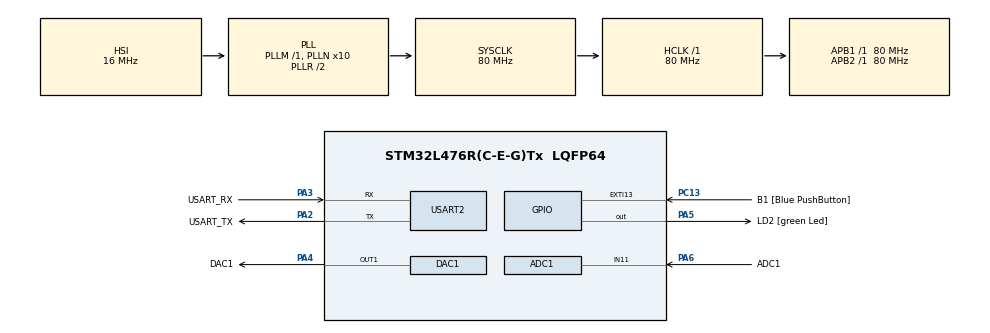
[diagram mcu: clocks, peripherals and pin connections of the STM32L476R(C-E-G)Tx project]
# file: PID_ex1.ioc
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ADC1.Channel-1\#ChannelRegularConversion=ADC_CHANNEL_11
ADC1.NbrOfConversionFlag=1
ADC1.OffsetNumber-1\#ChannelRegularConversion=ADC_OFFSET_NONE
ADC1.Rank-1\#ChannelRegularConversion=1
ADC1.SamplingTime-1\#ChannelRegularConversion=ADC_SAMPLETIME_2CYCLES_5
ADC1.master=1
Mcu.Family=STM32L4
Mcu.Name=STM32L476R(C-E-G)Tx
Mcu.Package=LQFP64
Mcu.UserConstants=TIM_PRESCALER,799;TIM_PERIOD,99
NVIC.ADC1_2_IRQn=true\:5\:0\:true\:false\:true\:true\:true\:true
NVIC.EXTI15_10_IRQn=true\:0\:0\:false\:false\:true\:true\:true\:true
NVIC.PriorityGroup=NVIC_PRIORITYGROUP_4
NVIC.USART2_IRQn=true\:5\:0\:true\:false\:true\:true\:true\:true
PA13\ (JTMS-SWDIO).GPIO_Label=TMS
PA13\ (JTMS-SWDIO).Mode=Serial_Wire
PA13\ (JTMS-SWDIO).Signal=SYS_JTMS-SWDIO
PA14\ (JTCK-SWCLK).GPIO_Label=TCK
PA14\ (JTCK-SWCLK).Mode=Serial_Wire
PA14\ (JTCK-SWCLK).Signal=SYS_JTCK-SWCLK
PA2.GPIO_Label=USART_TX
PA2.GPIO_Mode=GPIO_MODE_AF_PP
PA2.GPIO_PuPd=GPIO_NOPULL
PA2.GPIO_Speed=GPIO_SPEED_FREQ_VERY_HIGH
PA2.Mode=Asynchronous
PA2.Signal=USART2_TX
PA3.GPIO_Label=USART_RX
PA3.GPIO_Mode=GPIO_MODE_AF_PP
PA3.GPIO_PuPd=GPIO_NOPULL
PA3.GPIO_Speed=GPIO_SPEED_FREQ_VERY_HIGH
PA3.Mode=Asynchronous
PA3.Signal=USART2_RX
PA4.GPIO_Label=DAC1
PA4.Signal=COMP_DAC11_group
PA5.GPIO_Label=LD2 [green Led]
PA5.GPIO_ModeDefaultOutputPP=GPIO_MODE_OUTPUT_PP
PA5.GPIO_PuPd=GPIO_NOPULL
PA5.GPIO_Speed=GPIO_SPEED_FREQ_LOW
PA5.Signal=GPIO_Output
PA6.GPIO_Label=ADC1
PA6.Signal=ADCx_IN11
PB3\ (JTDO-TRACESWO).GPIO_Label=SWO
PB3\ (JTDO-TRACESWO).Signal=SYS_JTDO-SWO
PC13.GPIO_Label=B1 [Blue PushButton]
PC13.GPIO_ModeDefaultEXTI=GPIO_MODE_IT_FALLING
PC13.GPIO_PuPd=GPIO_NOPULL
PC13.Signal=GPXTI13
PC14-OSC32_IN\ (PC14).Mode=LSE-External-Oscillator
PC14-OSC32_IN\ (PC14).Signal=RCC_OSC32_IN
PC15-OSC32_OUT\ (PC15).Mode=LSE-External-Oscillator
PC15-OSC32_OUT\ (PC15).Signal=RCC_OSC32_OUT
PH0-OSC_IN\ (PH0).Signal=RCC_OSC_IN
PH1-OSC_OUT\ (PH1).Signal=RCC_OSC_OUT
ProjectManager.HeapSize=0x200
ProjectManager.StackSize=0x400
ProjectManager.TargetToolchain=STM32CubeIDE
RCC.ADCFreq_Value=64000000
RCC.AHBFreq_Value=80000000
RCC.APB1Freq_Value=80000000
RCC.APB1TimFreq_Value=80000000
RCC.APB2Freq_Value=80000000
RCC.APB2TimFreq_Value=80000000
RCC.CortexFreq_Value=80000000
RCC.HCLKFreq_Value=80000000
RCC.HSE_VALUE=8000000
RCC.HSI_VALUE=16000000
RCC.MSI_VALUE=4000000
RCC.PLLN=10
RCC.PLLSourceVirtual=RCC_PLLSOURCE_HSI
RCC.PREFETCH_ENABLE=1
RCC.SYSCLKFreq_VALUE=80000000
RCC.SYSCLKSource=RCC_SYSCLKSOURCE_PLLCLK
RCC.USBFreq_Value=64000000
RCC.VCOOutputFreq_Value=160000000
SH.ADCx_IN11.0=ADC1_IN11,IN11-Single-Ended
SH.COMP_DAC11_group.0=DAC1_OUT1,DAC_OUT1
TIM6.Period=TIM_PERIOD
TIM6.Prescaler=TIM_PRESCALER
TIM6.TIM_MasterOutputTrigger=TIM_TRGO_UPDATE
USART2.VirtualMode-Asynchronous=VM_ASYNC
VP_TIM6_VS_ClockSourceINT.Mode=Enable_Timer
board=NUCLEO-L476RG

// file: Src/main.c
/* USER CODE BEGIN Header */
/**
 ******************************************************************************
 * @file           : main.c
 * @brief          : Main program body
 ******************************************************************************
 * @attention
 *
 * <h2><center>&copy; Copyright (c) 2019 STMicroelectronics.
 * All rights reserved.</center></h2>
 *
 * This software component is licensed by ST under BSD 3-Clause license,
 * the "License"; You may not use this file except in compliance with the
 * License. You may obtain a copy of the License at:
 *                        opensource.org/licenses/BSD-3-Clause
 *
 ******************************************************************************
 */
/* USER CODE END Header */
#include "main.h"
#include "adc.h"
#include "dac.h"
#include "tim.h"
#include "usart.h"
#include "gpio.h"

/* USER CODE BEGIN Includes */

// --> include all necessary headers for
// printf() redirection
#include "stdio.h"
// FreeRTOS related headers
#include "FreeRTOS.h"
#include "task.h"
#include "semphr.h"
#include "queue.h"
#include "event_groups.h"
#include "pid.h"
#include <math.h>
#include <stdint.h>

/* USER CODE END Includes */

/* USER CODE BEGIN PD */

// PID gains
#define PID_KP   2.0f
#define PID_KI   8.0f
#define PID_KD   0.1f
#define PID_DT   0.02f   // control loop period: 50 Hz -> 0.02 s

// desired value range [0, 4095], selected by keys '0'..'9'
#define DV_STEP  4095/9
#define DV_MAX   4095

// DAC is 12-bit -> control signal range [0, 4095]
#define CS_MAX   4095.0f

// event group bit: measure signals that a fresh sample is available
#define MV_READY_BIT    (1 << 0)   // measure published a new mv

/* USER CODE END PD */

/* USER CODE BEGIN PV */

// shared process values (word-sized -> atomic access on Cortex-M);
// freshness is signalled through the 'dataEvents' event group
uint16_t mv = 0;   // measured value
uint16_t dv = 0;   // desired value
uint16_t cs = 0;   // control signal

// sinus parameters
float a = 0.5;
float b = 0.1;
float c = 0;

// PID controller instance
PID_t pid;

// synchronization primitives
EventGroupHandle_t dataEvents; // measure -> control handoff (MV_READY_BIT)
SemaphoreHandle_t adcReady;    // given by the ADC conversion-complete ISR
QueueHandle_t uartQueue;       // characters received over the serial port
uint8_t rxByte;                // single-byte buffer for HAL_UART_Receive_IT

/* USER CODE END PV */

void SystemClock_Config(void);

/* USER CODE BEGIN 0 */
int _write(int file, char *ptr, int len) {
	HAL_UART_Transmit(&huart2, (uint8_t*) ptr, len, 50);
	return len;
}

int16_t convert_to_mV(int16_t value) {
	int16_t value_mV = 1000 * value * 3.3 / CS_MAX;
	return value_mV;
}

void HAL_ADC_ConvCpltCallback(ADC_HandleTypeDef *hadc) {
	if (hadc->Instance == ADC1) {
		BaseType_t hpw = pdFALSE;
		// tell the measure task that a fresh sample is ready
		xSemaphoreGiveFromISR(adcReady, &hpw);
		portYIELD_FROM_ISR(hpw);
	}
}

void HAL_UART_RxCpltCallback(UART_HandleTypeDef *huart) {
	if (huart->Instance == USART2) {
		BaseType_t hpw = pdFALSE;
		// hand the received character to the user task
		xQueueSendToBackFromISR(uartQueue, &rxByte, &hpw);
		// re-arm reception for the next byte
		HAL_UART_Receive_IT(&huart2, &rxByte, 1);
		portYIELD_FROM_ISR(hpw);
	}
}

void measureTask(void *args) {
	TickType_t xLastWakeTime;

	xLastWakeTime = xTaskGetTickCount();

	for (;;) {
		// start a conversion and wait until the ISR signals it is done
		HAL_ADC_Start_IT(&hadc1);
		xSemaphoreTake(adcReady, portMAX_DELAY);
		uint16_t v = HAL_ADC_GetValue(&hadc1);

		// publish the new measurement and flag it as ready
		mv = v;
		xEventGroupSetBits(dataEvents, MV_READY_BIT);

		vTaskDelayUntil(&xLastWakeTime, pdMS_TO_TICKS(20));
	}
}

void controlTask(void *args) {
	static float time = 0.0f;

	for (;;) {
		// run once per fresh measurement (paced by measureTask, ~50 Hz)
		xEventGroupWaitBits(dataEvents, MV_READY_BIT,
				pdTRUE,   // clear the bit on exit
				pdFALSE,  // only this bit
				portMAX_DELAY);

		float mvLocal = mv;
		float a_local = a;
		float b_local = b;
		float c_local = c;

		time += PID_DT;
		float sinus_value_volts = a_local * sinf(b_local*time) + c_local;
		float sinus_value = sinus_value_volts * (CS_MAX/3.3f);

		dv = sinus_value;

		// PID output is already saturated to [0, CS_MAX]
		uint16_t csLocal = (uint16_t) PID_Update(&pid, sinus_value, mvLocal);

		HAL_DAC_SetValue(&hdac1, DAC_CHANNEL_1, DAC_ALIGN_12B_R, csLocal);

		cs = csLocal;
	}
}

void commTask(void *args) {
	TickType_t xLastWakeTime;

	xLastWakeTime = xTaskGetTickCount();

	for (;;) {
		uint16_t mvLocal = mv;
		uint16_t dvLocal = dv;
		uint16_t csLocal = cs;
		int16_t errorLocal = dvLocal - mvLocal;

		int16_t mvLocal_mV = convert_to_mV(mvLocal);
		int16_t dvLocal_mV = convert_to_mV(dvLocal);
		int16_t csLocal_mV = convert_to_mV(csLocal);
		int16_t errorLocal_mV = convert_to_mV(errorLocal);

		printf("%4d;%4d;%4d;%4d\r\n", mvLocal_mV, dvLocal_mV, errorLocal_mV, csLocal_mV);

		vTaskDelayUntil(&xLastWakeTime, pdMS_TO_TICKS(200));
	}
}

void userTask(void *args) {
	TickType_t xLastWakeTime;
	uint8_t character;

	xLastWakeTime = xTaskGetTickCount();

	for (;;) {
		while (xQueueReceive(uartQueue, &character, 0) == pdTRUE) {
			if (character >= '0' && character <= '2') {
				float a_local;
				switch (character) {
					case '0':
						a_local = 0.5;
						break;
					case '1':
						a_local = 1.0;
						break;
					case '2':
						a_local = 2.0;
						break;
				}
				a = a_local;
			}
			if (character >= 'a' && character <= 'c') {
				float b_local;
				switch (character) {
					case 'a':
						b_local = 0.1;
						break;
					case 'b':
						b_local = 0.5;
						break;
					case 'c':
						b_local = 0.8;
						break;
				}
				b = b_local;
			}
			if (character >= 'x' && character <= 'z') {
				float c_local;
				switch (character) {
					case 'x':
						c_local = 0.0;
						break;
					case 'y':
						c_local = 1.0;
						break;
					case 'z':
						c_local = 1.65;
						break;
				}
				c = c_local;
			}
		}

		vTaskDelayUntil(&xLastWakeTime, pdMS_TO_TICKS(100));
	}
}

/* USER CODE END 0 */

int main(void)
{

  /* MCU Configuration--------------------------------------------------------*/

  /* Reset of all peripherals, Initializes the Flash interface and the Systick. */
  HAL_Init();

  /* Configure the system clock */
  SystemClock_Config();

  /* Initialize all configured peripherals */
  MX_GPIO_Init();
  MX_USART2_UART_Init();
  MX_ADC1_Init();
  MX_TIM6_Init();
  MX_DAC1_Init();
  /* USER CODE BEGIN 2 */

	// Interrupts that call FreeRTOS ...FromISR() APIs must run at a priority
	// >= configLIBRARY_MAX_SYSCALL_INTERRUPT_PRIORITY (5). Re-apply it here so a
	// CubeMX regeneration cannot silently reset the priorities (set in
	// adc.c / usart.c) back to 0 and hang the scheduler.
	HAL_NVIC_SetPriority(ADC1_2_IRQn, 5, 0);
	HAL_NVIC_SetPriority(USART2_IRQn, 5, 0);

	// calibrate the ADC for accurate single-ended measurements
	HAL_ADCEx_Calibration_Start(&hadc1, ADC_SINGLE_ENDED);

	// create all necessary synchronization mechanisms
	dataEvents = xEventGroupCreate();
	configASSERT(dataEvents != NULL);
	adcReady = xSemaphoreCreateBinary();
	configASSERT(adcReady != NULL);
	uartQueue = xQueueCreate(8, sizeof(uint8_t));
	configASSERT(uartQueue != NULL);

	// initialize the PID controller (output limited to the DAC range)
	PID_Init(&pid, PID_KP, PID_KI, PID_KD, PID_DT, 0.0f, CS_MAX);

	// start the DAC output channel
	HAL_DAC_Start(&hdac1, DAC_CHANNEL_1);

	// enable UART receive in interrupt mode (one byte at a time)
	HAL_UART_Receive_IT(&huart2, &rxByte, 1);

	printf("Starting!\r\n");

	// create all necessary tasks
	xTaskCreate(measureTask, "measure", configMINIMAL_STACK_SIZE,
			NULL, tskIDLE_PRIORITY + 3, NULL);
	xTaskCreate(controlTask, "control", configMINIMAL_STACK_SIZE,
			NULL, tskIDLE_PRIORITY + 3, NULL);
	xTaskCreate(userTask, "user", configMINIMAL_STACK_SIZE,
			NULL, tskIDLE_PRIORITY + 2, NULL);
	xTaskCreate(commTask, "comm", configMINIMAL_STACK_SIZE * 4,
			NULL, tskIDLE_PRIORITY + 1, NULL);

	// start FreeRTOS scheduler
	vTaskStartScheduler();

  /* USER CODE END 2 */

  /* Infinite loop */
	while (1) {

	}
}

void SystemClock_Config(void)
{
  RCC_OscInitTypeDef RCC_OscInitStruct = {0};
  RCC_ClkInitTypeDef RCC_ClkInitStruct = {0};
  RCC_PeriphCLKInitTypeDef PeriphClkInit = {0};

  /** Initializes the RCC Oscillators according to the specified parameters
  * in the RCC_OscInitTypeDef structure.
  */
  RCC_OscInitStruct.OscillatorType = RCC_OSCILLATORTYPE_HSI;
  RCC_OscInitStruct.HSIState = RCC_HSI_ON;
  RCC_OscInitStruct.HSICalibrationValue = RCC_HSICALIBRATION_DEFAULT;
  RCC_OscInitStruct.PLL.PLLState = RCC_PLL_ON;
  RCC_OscInitStruct.PLL.PLLSource = RCC_PLLSOURCE_HSI;
  RCC_OscInitStruct.PLL.PLLM = 1;
  RCC_OscInitStruct.PLL.PLLN = 10;
  RCC_OscInitStruct.PLL.PLLP = RCC_PLLP_DIV7;
  RCC_OscInitStruct.PLL.PLLQ = RCC_PLLQ_DIV2;
  RCC_OscInitStruct.PLL.PLLR = RCC_PLLR_DIV2;
  if (HAL_RCC_OscConfig(&RCC_OscInitStruct) != HAL_OK)
  {
    Error_Handler();
  }
  /** Initializes the CPU, AHB and APB buses clocks
  */
  RCC_ClkInitStruct.ClockType = RCC_CLOCKTYPE_HCLK|RCC_CLOCKTYPE_SYSCLK
                              |RCC_CLOCKTYPE_PCLK1|RCC_CLOCKTYPE_PCLK2;
  RCC_ClkInitStruct.SYSCLKSource = RCC_SYSCLKSOURCE_PLLCLK;
  RCC_ClkInitStruct.AHBCLKDivider = RCC_SYSCLK_DIV1;
  RCC_ClkInitStruct.APB1CLKDivider = RCC_HCLK_DIV1;
  RCC_ClkInitStruct.APB2CLKDivider = RCC_HCLK_DIV1;

  if (HAL_RCC_ClockConfig(&RCC_ClkInitStruct, FLASH_LATENCY_4) != HAL_OK)
  {
    Error_Handler();
  }
  PeriphClkInit.PeriphClockSelection = RCC_PERIPHCLK_USART2|RCC_PERIPHCLK_ADC;
  PeriphClkInit.Usart2ClockSelection = RCC_USART2CLKSOURCE_PCLK1;
  PeriphClkInit.AdcClockSelection = RCC_ADCCLKSOURCE_PLLSAI1;
  PeriphClkInit.PLLSAI1.PLLSAI1Source = RCC_PLLSOURCE_HSI;
  PeriphClkInit.PLLSAI1.PLLSAI1M = 1;
  PeriphClkInit.PLLSAI1.PLLSAI1N = 8;
  PeriphClkInit.PLLSAI1.PLLSAI1P = RCC_PLLP_DIV7;
  PeriphClkInit.PLLSAI1.PLLSAI1Q = RCC_PLLQ_DIV2;
  PeriphClkInit.PLLSAI1.PLLSAI1R = RCC_PLLR_DIV2;
  PeriphClkInit.PLLSAI1.PLLSAI1ClockOut = RCC_PLLSAI1_ADC1CLK;
  if (HAL_RCCEx_PeriphCLKConfig(&PeriphClkInit) != HAL_OK)
  {
    Error_Handler();
  }
  /** Configure the main internal regulator output voltage
  */
  if (HAL_PWREx_ControlVoltageScaling(PWR_REGULATOR_VOLTAGE_SCALE1) != HAL_OK)
  {
    Error_Handler();
  }
}

void Error_Handler(void)
{
}

/************************ (C) COPYRIGHT STMicroelectronics *****END OF FILE****/
